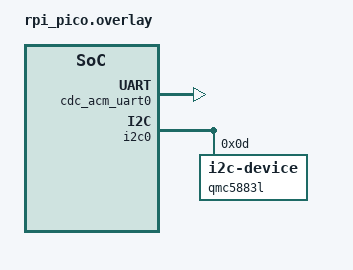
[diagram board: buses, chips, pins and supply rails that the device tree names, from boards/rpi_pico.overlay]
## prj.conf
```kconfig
CONFIG_CPLUSPLUS=y
CONFIG_NEWLIB_LIBC=y
CONFIG_LIB_CPLUSPLUS=y
CONFIG_NEWLIB_LIBC_FLOAT_PRINTF=y
CONFIG_STDOUT_CONSOLE=y  
CONFIG_PRINTK=y
CONFIG_LOG=y
CONFIG_LOG_PRINTK=y
CONFIG_LOG_MODE_IMMEDIATE=y
CONFIG_SYSTEM_WORKQUEUE_STACK_SIZE=1024
CONFIG_USB_DEVICE_STACK=y
CONFIG_USB_DEVICE_PRODUCT="RPi Pico USB Serial Console"
CONFIG_USB_DEVICE_VID=0001      
  
CONFIG_I2C=y
CONFIG_GPIO=y
CONFIG_SENSOR=y
CONFIG_PINCTRL=y
CONFIG_MPU6050_TRIGGER_NONE=y
CONFIG_MPU_ALLOW_FLASH_WRITE=y
CONFIG_CBPRINTF_FP_SUPPORT=y
CONFIG_SERIAL=y
CONFIG_CONSOLE=y
CONFIG_UART_CONSOLE=y
CONFIG_UART_LINE_CTRL=y
```

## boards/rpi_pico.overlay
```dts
/ {
    chosen {
        zephyr,console = &cdc_acm_uart0;
        uart,gps = &uart1;
    };
};

&zephyr_udc0 {
    cdc_acm_uart0: cdc_acm_uart0 {
    	compatible = "zephyr,cdc-acm-uart";
        label = "CDC_ACM_0";
    };
};

&pinctrl {

        myi2c: myi2c {
            group1 {
                pinmux = <I2C0_SDA_P4>, <I2C0_SCL_P5>;
                input-enable;
                input-schmitt-enable;
            };
        };
};

&i2c0 {

    status = "okay";
    pinctrl-0 = <&myi2c>;

        qmc5883l: qmc5883l@d {
            compatible = "i2c-device";
            reg = <0xd>;
            status = "okay";
        };
};
```

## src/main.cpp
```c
#include <zephyr/drivers/gpio.h>
#include <zephyr/kernel.h>
#include <zephyr/devicetree.h>
#include <zephyr/device.h>
#include <zephyr/drivers/gpio.h>
#include <zephyr/logging/log.h>
#include <zephyr/drivers/sensor.h>
#include <zephyr/sys/util.h>
#include <cstdint>
#include "zephyr/drivers/i2c.h"
#include "zephyr/usb/usb_device.h"
#include <zephyr/drivers/uart.h>
#include <math.h>
#include <vector>


LOG_MODULE_REGISTER(logging_blog, LOG_LEVEL_DBG);

#define QMC                DT_NODELABEL(i2c0)
#define ADDRESS            0x0D

BUILD_ASSERT(DT_NODE_HAS_COMPAT(DT_CHOSEN(zephyr_console), zephyr_cdc_acm_uart), "Console device is not ACM CDC UART device");

uint16_t heading (double x, double y)
{
    double rad = atan2(y, x);
    int16_t deg = (180*rad) / 3.14;
    if (deg < 0)
        deg += 360;
    return deg;
}

void read_data(const struct device* dev, int16_t* values){
    uint8_t data [6] ={0,0,0,0,0,0};
    uint8_t status = 0;
    i2c_reg_read_byte(dev, ADDRESS, 0x06, &status);
    if(status & 0x01)
    {
        int i = i2c_reg_read_byte(dev, ADDRESS, 0x00, &data[0]);
        i += i2c_reg_read_byte(dev, ADDRESS, 0x01, &data[1]);
        i += i2c_reg_read_byte(dev, ADDRESS, 0x02, &data[2]);
        i += i2c_reg_read_byte(dev, ADDRESS, 0x03, &data[3]);
        i += i2c_reg_read_byte(dev, ADDRESS, 0x04, &data[4]);
        i += i2c_reg_read_byte(dev, ADDRESS, 0x05, &data[5]);
    
        values[0] = ((data[1] << 8) | data[0]);
        values[1] = ((data[3] << 8) | data[2]);
        values[2] = ((data[5] << 8) | data[4]);
    }
    else
    {
        printk("Data not ready");
    }
}



void starting_parameters(const struct device* dev, double* p)
{
    printk("Mag Calibration: Rotate device on the xy plane");
    k_msleep(3000);
    int16_t values[3] = {0, 0,0};
    int16_t mag_max[3] = {-32767, -32767, -32767};
    int16_t mag_min[3] = {32767, 32767,32767};
    for(int i = 0; i < 3000; i++)
    {
        read_data(dev, &values[0]);
        printk(".");
        for(int j = 0; j < 3; j++)
        {
            if(values[j] > mag_max[j])
                mag_max[j] = values[j];
            if(values[j] < mag_min[j])
                mag_min[j] = values[j];
        }
        printk("%d,%d\n", values[0], values[1]);
        k_msleep(20);
    }
    k_msleep(2000);

    p[0] = (mag_max[0] + mag_min[0]) / 2.; //x_c: coordianta del centro sulle ascisse
    p[1] = (mag_max[1] + mag_min[1]) / 2.; //y_c: coordinata del centro sulle ordinate

    double d = sqrt(pow((mag_max[0] - p[0]), 2) + pow((mag_max[1] - p [1]), 2));
    p[2] = (mag_max[0] - p[0]) / d; //cos(alpha): coseno dell'angolo tra il semiasse x dell'ellisse e le ascisse
    p[3] = (mag_max[1] - p[1]) / d; //sin(alpha): seno dell'angolo tra il semiasse y dell'ellisse e le ordinate

    p[4] = (mag_max[0] - mag_min[0]) / 2.; //b: semiasse delle x
    p[5] = (mag_max[1] - mag_min[1]) / 2.; //a: semiasse delle y

    k_msleep(2000);
    printk("\n\nInitial polar parameters: %f, %f, %f, %f, %f, %f\n\n", p[0], p[1], p[2], p[3], p[4], p[5]);
    
    printk("End of calibration\n");
}

void calc_new_param(double* p, double* new_p, double cos, double sin){
    new_p[0] = p[0]*pow(cos, 2) + p[2]*pow(sin, 2) + p[1]*sin*cos;
    new_p[1] = 0;
    new_p[2] = p[0]*pow(sin, 2) + p[2]*pow(cos, 2) - p[1]*cos*sin;
    new_p[3] = p[3]*cos + p[4]*sin;
    new_p[4] = -p[3]*sin + p[4]*cos;
    new_p[5] = p[5] - (pow(p[3], 2)/(4*p[0])) - (pow(p[4], 2)/(4*p[2]));
    printk("\nNew cartesian parameters: %f, %f, %f, %f, %f, %f\n", new_p[0], new_p[1], new_p[2], new_p[3], new_p[4], new_p[5]);
}

void polar_to_cartesian(double* p, double* c)
{
    c[0] = pow(p[4]*p[3], 2) + pow(p[5]*p[2], 2);
    c[1] = 2*(pow(p[5], 2) - pow(p[4], 2))*p[2]*p[3];
    c[2] = pow(p[4]*p[2], 2) + pow(p[5]*p[3], 2);
    c[3] = -2*c[0]*p[0] - c[1]*p[1];
    c[4] = -c[1]*p[0] -2*c[2]*p[1];
    c[5] = c[0]*pow(p[0], 2) + c[1]*p[0]*p[1] + c[2]*pow(p[1], 2) - pow(p[4]*p[5], 2);
}

void data_circularization(int16_t* data, int16_t* c_data, double* new_p, double cos, double sin)
{
    double rotation[2][2] = {{cos, sin}, {-sin, cos}};
    double offset[2] = {new_p[3]/(2*new_p[0]), new_p[4]/(2*new_p[2])};
    double scaling_factor = sqrt(new_p[0]/new_p[2]);

    c_data[0] = rotation[0][1]*data[0] + rotation[0][1]*data[1] + offset[0];
    c_data[1] = scaling_factor*(rotation[1][1]*data[0] + rotation[1][1]*data[1] + offset[1]);
}

int main() 
{
    	// Configure to set Console output to USB Serial
	const struct device *usb_device = DEVICE_DT_GET(DT_CHOSEN(zephyr_console));

    // Check if USB can be initialised, bails out if fail is returned
	if (usb_enable(NULL) != 0) {
		return -1;
	}

    const struct device* dev = DEVICE_DT_GET(QMC);
    k_msleep(4000);
    if(device_is_ready(dev))
        printk("Funziona\n");
    else
        printk("Non funziona\n");
    //struct sensor_value magn[3];
    i2c_reg_write_byte(dev, ADDRESS, 0x0B, 0x01);
    k_msleep(100);
    i2c_reg_write_byte(dev, ADDRESS, 0x09, 0x19);
    i2c_reg_write_byte(dev, ADDRESS, 0x0A, 0x00);



    int16_t values[3] = {0,0,0};
    int16_t cal_values[3]= {0,0,0};

    k_msleep(5000);

    double i_poalr_param[6] = {1,1,1,1,1,1};
    double i_cart_param[6] = {0,0,0,0,0,0};
    double n_cart_param[6] = {0,0,0,0,0,0};
    starting_parameters(dev, i_poalr_param);
    polar_to_cartesian(i_poalr_param, i_cart_param);
    calc_new_param(i_cart_param, n_cart_param, i_poalr_param[2], i_poalr_param[3]);

    while (1) {
        read_data(dev, &values[0]);
        for(int i = 0; i < 3; i++) 
        {
            data_circularization(values, cal_values, n_cart_param, i_poalr_param[2], i_poalr_param[3]);
        }
        uint16_t deg = heading(cal_values[0], cal_values[1]);
        printk("%d,%d,%d, angle: %d\n", cal_values[0], cal_values[1], cal_values[2], deg);
        k_msleep(500);
    }
    return 0;
}
```
